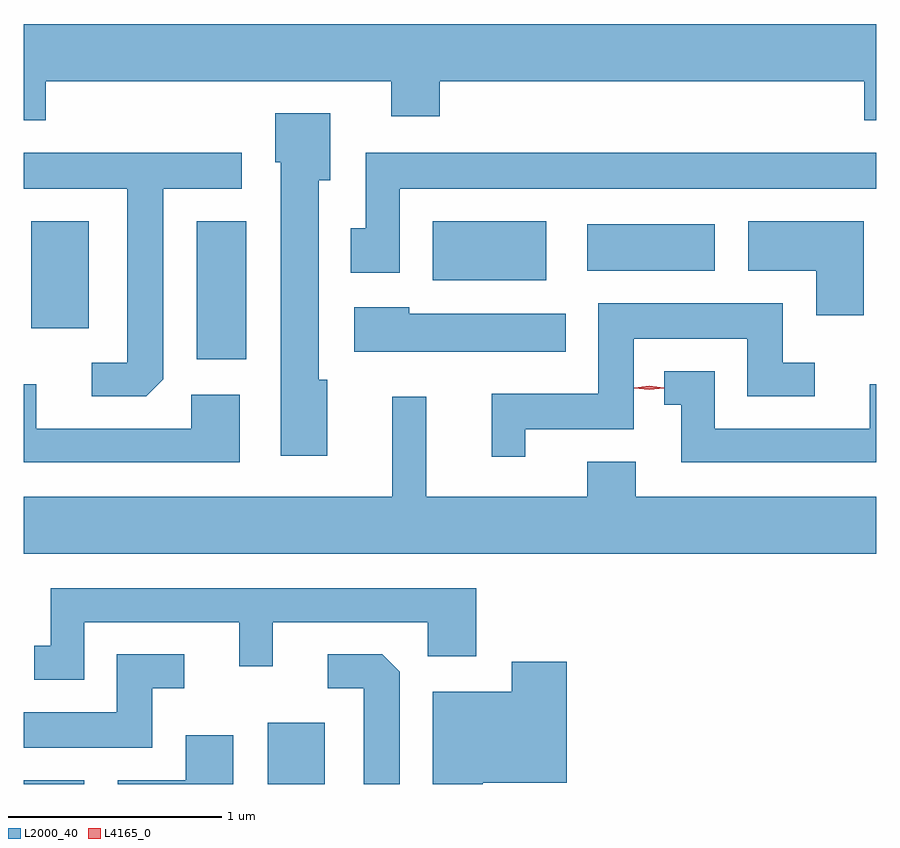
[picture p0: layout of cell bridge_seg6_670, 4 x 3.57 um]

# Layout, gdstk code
import gdstk
lib = gdstk.Library(unit=1e-6, precision=1e-09)
def R(c, l, rs):  # rectangles x0, y0, x1, y1
    for r in rs: c.add(gdstk.rectangle(r[:2], r[2:], *l))
def P(c, l, *ps):  # polygons
    for p in ps: c.add(gdstk.Polygon(p, *l))
L2000_40 = (2000, 40)
L4165_0 = (4165, 0)

bridge_seg6_670 = lib.new_cell('bridge_seg6_670')
R(bridge_seg6_670, L2000_40, [(309.546,1544.516,309.829,1544.534), (310.691,1544.516,310.959,1544.804), (310.356,1546.511,310.589,1547.159), (309.581,1546.656,309.849,1547.159), (311.466,1546.881,311.999,1547.159), (312.191,1546.926,312.789,1547.144)])
P(bridge_seg6_670, L2000_40, [(309.649,1547.816),(311.271,1547.816),(311.271,1547.651),(311.499,1547.651),(311.499,1547.816),(313.491,1547.816),(313.491,1547.631),(313.546,1547.631),(313.546,1548.084),(309.546,1548.084),(309.546,1547.631),(309.649,1547.631)],
  [(310.969,1546.414),(310.929,1546.414),(310.929,1547.351),(310.984,1547.351),(310.984,1547.664),(310.726,1547.664),(310.726,1547.436),(310.751,1547.436),(310.751,1546.056),(310.969,1546.056)],
  [(311.309,1547.311),(313.546,1547.311),(313.546,1547.479),(311.151,1547.479),(311.151,1547.124),(311.081,1547.124),(311.081,1546.916),(311.309,1546.916)],
  [(310.199,1546.417),(310.199,1547.311),(310.568,1547.311),(310.568,1547.479),(309.546,1547.479),(309.546,1547.311),(310.031,1547.311),(310.031,1546.494),(309.863,1546.494),(309.863,1546.336),(310.119,1546.336)],
  [(313.489,1547.159),(312.946,1547.159),(312.946,1546.926),(313.266,1546.926),(313.266,1546.716),(313.489,1546.716)],
  [(311.899,1546.181),(312.409,1546.181),(312.409,1546.606),(312.941,1546.606),(312.941,1546.336),(313.258,1546.336),(313.258,1546.494),(313.109,1546.494),(313.109,1546.774),(312.241,1546.774),(312.241,1546.349),(311.741,1546.349),(311.741,1546.053),(311.899,1546.053)],
  [(312.089,1546.724),(311.354,1546.724),(311.354,1546.754),(311.096,1546.754),(311.096,1546.546),(312.089,1546.546)],
  [(313.546,1546.393),(313.516,1546.393),(313.516,1546.184),(312.789,1546.184),(312.789,1546.454),(312.553,1546.454),(312.553,1546.296),(312.631,1546.296),(312.631,1546.026),(313.546,1546.026)],
  [(310.559,1546.344),(310.331,1546.344),(310.331,1546.184),(309.604,1546.184),(309.604,1546.393),(309.546,1546.393),(309.546,1546.026),(310.559,1546.026)],
  [(313.546,1545.864),(312.419,1545.864),(312.419,1546.029),(312.191,1546.029),(312.191,1545.864),(311.434,1545.864),(311.434,1546.333),(311.276,1546.333),(311.276,1545.864),(309.546,1545.864),(309.546,1545.596),(313.546,1545.596)],
  [(309.829,1545.276),(310.556,1545.276),(310.556,1545.068),(310.714,1545.068),(310.714,1545.276),(311.441,1545.276),(311.441,1545.116),(311.669,1545.116),(311.669,1545.434),(309.671,1545.434),(309.671,1545.164),(309.593,1545.164),(309.593,1545.006),(309.829,1545.006)],
  [(310.149,1544.966),(310.298,1544.966),(310.298,1545.124),(309.981,1545.124),(309.981,1544.854),(309.546,1544.854),(309.546,1544.686),(310.149,1544.686)],
  [(311.309,1545.044),(311.229,1545.124),(310.973,1545.124),(310.973,1544.966),(311.141,1544.966),(311.141,1544.516),(311.309,1544.516)],
  [(311.699,1544.521),(312.094,1544.521),(312.094,1545.089),(311.836,1545.089),(311.836,1544.949),(311.466,1544.949),(311.466,1544.516),(311.699,1544.516)],
  [(310.529,1544.744),(310.306,1544.744),(310.306,1544.534),(309.986,1544.534),(309.986,1544.516),(310.529,1544.516)])
P(bridge_seg6_670, L4165_0, [(312.481,1546.366),(312.412,1546.375),(312.412,1546.376),(312.412,1546.376),(312.481,1546.385),(312.551,1546.376),(312.551,1546.375),(312.551,1546.374)])

lib.write_gds('bridge_seg6_670.gds')
